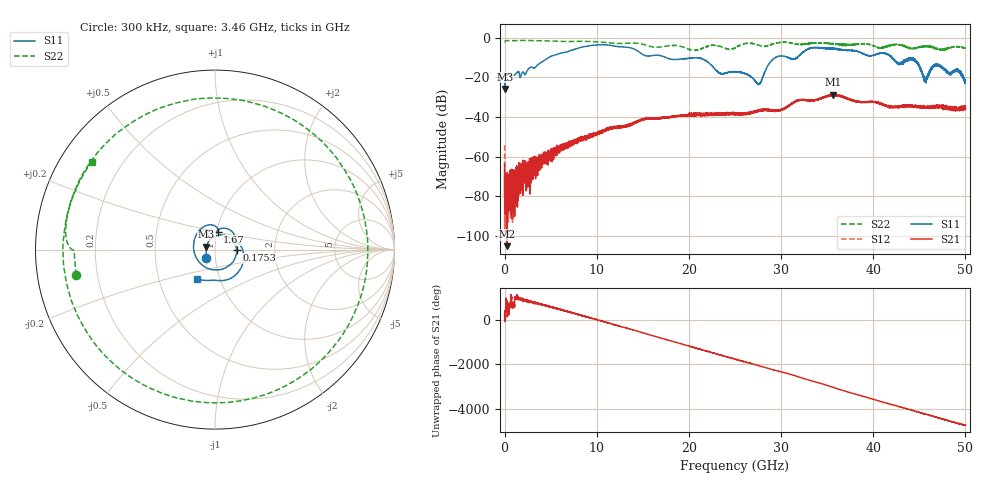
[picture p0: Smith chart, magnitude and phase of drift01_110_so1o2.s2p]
!Created with skrf (http://scikit-rf.org).
# Hz S RI R 50.0
!freq ReS11 ImS11 ReS21 ImS21 ReS12 ImS12 ReS22 ImS22
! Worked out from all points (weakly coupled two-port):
!   10001 points, 300 kHz to 50 GHz, reference 50 ohm
!   highest |S21| = -28.67 dB at 35.63 GHz (marker M1); lowest = -105.1 dB at 235.3 MHz (marker M2)
!   lowest |S11| = -25.8 dB at 5.3 MHz (marker M3), VSWR 1.11, Z = 45.3 + j1.41 ohm
!   |S11| at or under -10 dB: start of sweep to 4.768 GHz; 17.53 GHz to 29.37 GHz (11.85 GHz wide, 50.5 % of centre); 42.06 GHz to end of sweep (the widest 3 of 11)
!   |S22| runs from -6.4 to -1.4 dB; largest |S21 - S12| = 0.0045
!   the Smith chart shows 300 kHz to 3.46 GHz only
!   S11 on the Smith chart (normalised r, x): 300 kHz: 0.90, -0.09; 175.3 MHz: 1.27, -0.01; 1.67 GHz: 1.01, +0.20; 3.46 GHz: 0.78, -0.26
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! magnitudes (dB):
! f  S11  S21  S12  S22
! 300 kHz  -23.2  -63.8  -54.2  -2.1
! 5.3 MHz  -25.8  -79.4  -95.8  -2.1
! 175.3 MHz  -18.4  -76.5  -86.0  -1.4
! 235.3 MHz  -18.3  -105.1  -69.2  -1.4
! 1.67 GHz  -20.0  -70.2  -64.9  -1.4
! 3.46 GHz  -14.3  -64.3  -64.0  -1.5
! 8.335 GHz  -4.8  -49.7  -52.1  -1.8
! 16.67 GHz  -8.8  -40.7  -40.6  -4.8
! 21.22 GHz  -10.3  -38.7  -38.4  -5.7
! 23.39 GHz  -17.9  -38.5  -38.6  -4.3
! 25 GHz  -17.1  -39.1  -38.4  -5.1
! 27.59 GHz  -23.5  -36.9  -36.9  -3.8
! 29.28 GHz  -10.3  -36.7  -37.0  -2.9
! 31.47 GHz  -10.8  -32.3  -32.4  -2.9
! 33.34 GHz  -5.1  -31.5  -31.6  -2.7
! 35.63 GHz  -5.6  -28.7  -28.9  -3.0
! 41.67 GHz  -8.7  -34.4  -34.7  -4.2
! 42.8 GHz  -12.9  -35.2  -35.0  -3.6
! 44.41 GHz  -11.3  -34.3  -34.4  -5.4
! 45.63 GHz  -21.0  -35.1  -35.3  -4.3
! 46.96 GHz  -13.4  -34.8  -34.9  -5.6
! 50 GHz  -21.9  -35.5  -35.4  -5.3
